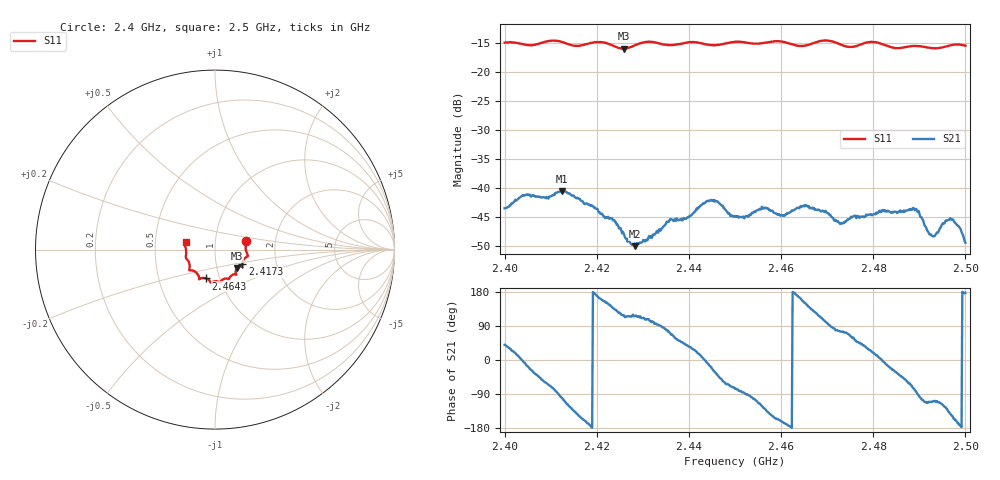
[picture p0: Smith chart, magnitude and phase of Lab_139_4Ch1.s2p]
# Hz S RI R 50
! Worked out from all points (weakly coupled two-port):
!   601 points, 2.4 GHz to 2.5 GHz, reference 50 ohm
!   highest |S21| = -40.54 dB at 2.4125 GHz (marker M1); lowest = -50.1 dB at 2.4283 GHz (marker M2)
!   lowest |S11| = -15.9 dB at 2.4258 GHz (marker M3), VSWR 1.38, Z = 62.3 - j13.2 ohm
!   |S11| at or under -10 dB: start of sweep to end of sweep
!   S12 and S22 are empty: the file has one direction only
!   S11 on the Smith chart (normalised r, x): 2.4 GHz: 1.41, +0.14; 2.4173 GHz: 1.34, -0.23; 2.4643 GHz: 0.86, -0.28; 2.5 GHz: 0.72, +0.06
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2.4e9  0.1731 0.0487  0.00509 0.00427  0 0  0 0
2.404167e9  0.1721 0.0236  0.00849 -0.000951  0 0  0 0
2.409e9  0.1816 -0.0288  0.00406 -0.00702  0 0  0 0
2.4125e9  0.178 -0.0391  -0.00172 -0.00924  0 0  0 0
2.416667e9  0.1529 -0.0749  -0.00687 -0.00349  0 0  0 0
2.417333e9  0.1518 -0.0823  -0.00675 -0.00255  0 0  0 0
2.423667e9  0.1395 -0.0942  -0.00375 0.00365  0 0  0 0
2.425833e9  0.1218 -0.1032  -0.00191 0.00356  0 0  0 0
2.428333e9  0.1152 -0.1264  -0.00135 0.00282  0 0  0 0
2.433333e9  0.1129 -0.1375  -0.000229 0.00408  0 0  0 0
2.444333e9  0.0607 -0.161  0.00756 -0.00177  0 0  0 0
2.45e9  0.0287 -0.1808  0.00138 -0.00548  0 0  0 0
2.456333e9  -0.00893 -0.1789  -0.00407 -0.00537  0 0  0 0
2.460333e9  -0.025 -0.1818  -0.00553 -0.00156  0 0  0 0
2.464333e9  -0.0503 -0.1606  -0.00646 0.00225  0 0  0 0
2.466667e9  -0.0761 -0.1588  -0.00457 0.00484  0 0  0 0
2.473167e9  -0.092 -0.1452  0.00133 0.00478  0 0  0 0
2.483333e9  -0.1409 -0.0898  0.00599 -0.00187  0 0  0 0
2.489e9  -0.1624 -0.0452  0.00126 -0.00626  0 0  0 0
2.492833e9  -0.1602 -0.0162  -0.00128 -0.00362  0 0  0 0
2.497e9  -0.1694 0.0268  -0.00441 -0.0029  0 0  0 0
2.5e9  -0.164 0.0425  -0.00335 0.000181  0 0  0 0
